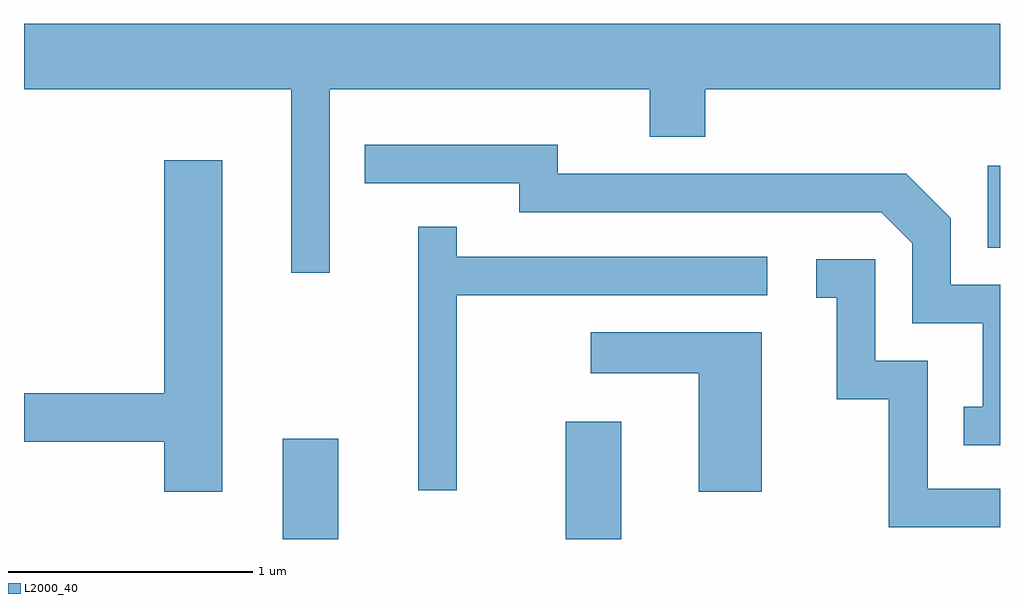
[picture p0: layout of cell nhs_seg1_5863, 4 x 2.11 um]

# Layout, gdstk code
import gdstk
lib = gdstk.Library(unit=1e-6, precision=1e-09)
def R(c, l, rs):  # rectangles x0, y0, x1, y1
    for r in rs: c.add(gdstk.rectangle(r[:2], r[2:], *l))
def P(c, l, *ps):  # polygons
    for p in ps: c.add(gdstk.Polygon(p, *l))
L2000_40 = (2000, 40)

nhs_seg1_5863 = lib.new_cell('nhs_seg1_5863')
R(nhs_seg1_5863, L2000_40, [(362.671,917.712,362.899,918.124), (363.831,917.712,364.059,918.194), (365.561,918.906,365.611,919.243)])
P(nhs_seg1_5863, L2000_40, [(362.864,919.556),(364.176,919.556),(364.176,919.361),(364.404,919.361),(364.404,919.556),(365.611,919.556),(365.611,919.824),(361.611,919.824),(361.611,919.556),(362.706,919.556),(362.706,918.803),(362.864,918.803)],
  [(365.611,918.754),(365.409,918.754),(365.409,919.027),(365.227,919.209),(363.799,919.209),(363.799,919.329),(363.008,919.329),(363.008,919.171),(363.641,919.171),(363.641,919.051),(365.124,919.051),(365.251,918.924),(365.251,918.596),(365.541,918.596),(365.541,918.254),(365.463,918.254),(365.463,918.096),(365.611,918.096)],
  [(362.424,919.264),(362.186,919.264),(362.186,918.309),(361.611,918.309),(361.611,918.111),(362.186,918.111),(362.186,917.906),(362.424,917.906)],
  [(363.384,918.711),(364.658,918.711),(364.658,918.869),(363.384,918.869),(363.384,918.993),(363.226,918.993),(363.226,917.913),(363.384,917.913)],
  [(365.611,917.919),(365.314,917.919),(365.314,918.444),(365.099,918.444),(365.099,918.859),(364.858,918.859),(364.858,918.701),(364.941,918.701),(364.941,918.286),(365.156,918.286),(365.156,917.761),(365.611,917.761)],
  [(364.634,918.559),(363.933,918.559),(363.933,918.391),(364.376,918.391),(364.376,917.906),(364.634,917.906)])

lib.write_gds('nhs_seg1_5863.gds')
